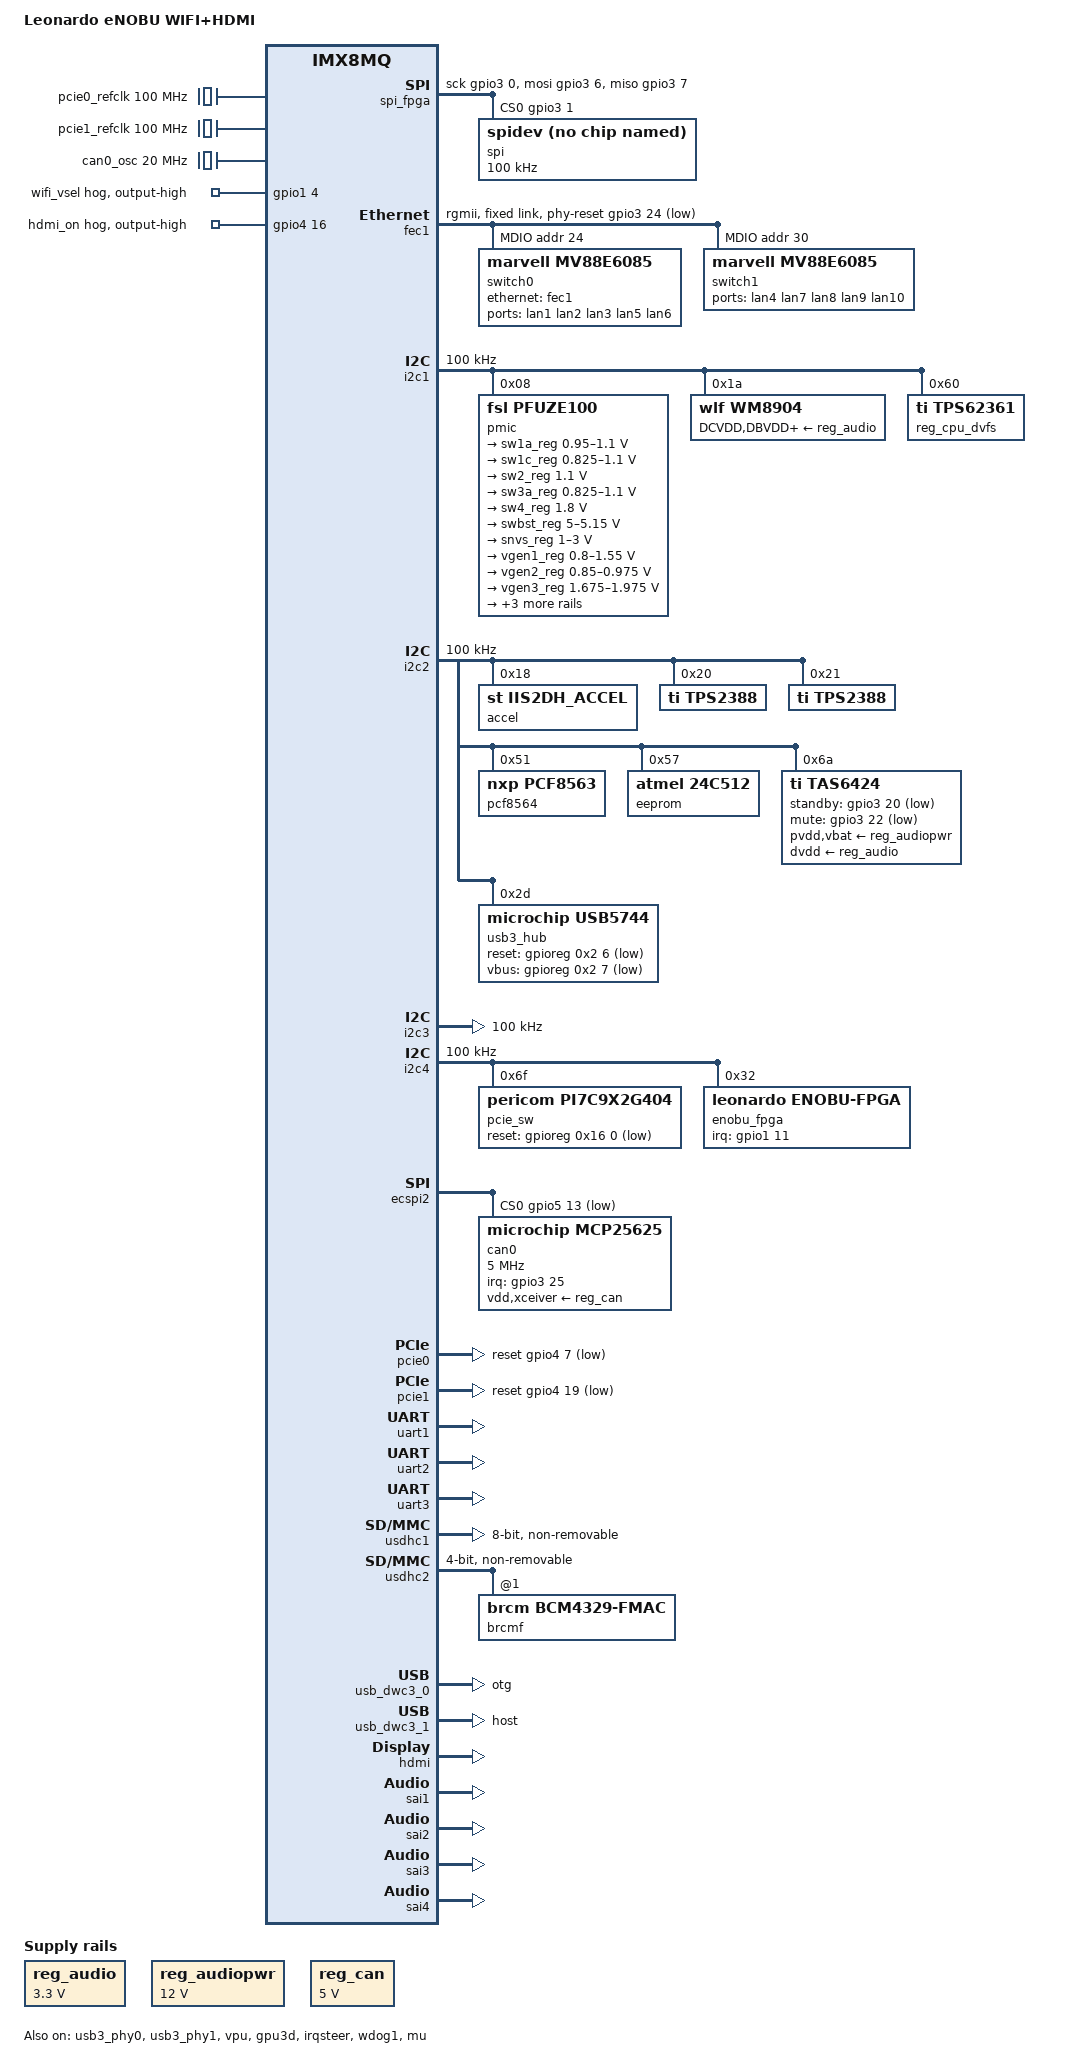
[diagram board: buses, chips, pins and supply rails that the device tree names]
// SPDX-License-Identifier: (GPL-2.0 OR MIT)
/*
 * Copyright 2017 NXP
 * Copyright 2018-2020 Variscite Ltd.
 * Copyright 2019 Leonardo S.p.A.
 *
 * This program is free software; you can redistribute it and/or
 * modify it under the terms of the GNU General Public License
 * as published by the Free Software Foundation; either version 2
 * of the License, or (at your option) any later version.
 *
 * This program is distributed in the hope that it will be useful,
 * but WITHOUT ANY WARRANTY; without even the implied warranty of
 * MERCHANTABILITY or FITNESS FOR A PARTICULAR PURPOSE.  See the
 * GNU General Public License for more details.
 */

/dts-v1/;

#include <dt-bindings/usb/pd.h>
#include "imx8mq.dtsi"

/ {
	model = "Leonardo eNOBU WIFI+HDMI";
	compatible = "leonardo,imx8mq-enobu", "fsl,imx8mq";

        aliases {
		spi3 = &spi_fpga;
        };

	chosen {
		bootargs = "console=ttymxc0,115200 earlycon=ec_imx6q,0x30860000,115200";
		stdout-path = &uart1;
	};

	pcie0_refclk: pcie0-refclk {
		compatible = "fixed-clock";
		#clock-cells = <0>;
		clock-frequency = <100000000>;
	};

	pcie1_refclk: pcie1-refclk {
		compatible = "fixed-clock";
		#clock-cells = <0>;
		clock-frequency = <100000000>;
	};

	reg_audio: audio_vdd {
		compatible = "regulator-fixed";
		regulator-name = "wm8904_supply";
		regulator-min-microvolt = <3300000>;
		regulator-max-microvolt = <3300000>;
		regulator-always-on;
	};

	reg_audiopwr: audiopwr_12v {
		compatible = "regulator-fixed";
		regulator-name = "audiopwr_supply";
		regulator-min-microvolt = <12000000>;
		regulator-max-microvolt = <12000000>;
		regulator-always-on;
	};

/*	reg_wifi_en: wifi_en {
		compatible = "regulator-fixed";
		regulator-name = "WIFI_REG_ON";
		regulator-min-microvolt = <3300000>;
		regulator-max-microvolt = <3300000>;
	}; */

	reg_can: 5v_iso {
		compatible = "regulator-fixed";
		regulator-name = "mcp25625_supply";
		regulator-min-microvolt = <5000000>;
		regulator-max-microvolt = <5000000>;
		regulator-always-on;
	};

/*	reg_usb_otg1_vbus: vbus_otg {
		compatible = "regulator-fixed";
		regulator-name = "usb_otg1_vbus";
		regulator-min-microvolt = <5000000>;
		regulator-max-microvolt = <5000000>;
		gpio = <&gpio1 12 GPIO_ACTIVE_HIGH>;
	        enable-active-high;
		regulator-always-on;
	}; */

	/* CFPX-180 quartz crystal */
	can0_osc: can0_osc {
		compatible = "fixed-clock";
		#clock-cells = <0>;
		clock-frequency = <20000000>;
	};

	sound-tas6424 {
		compatible = "fsl,imx-audio-tas6424";
		model = "imx-tas6424";
		audio-cpu = <&sai1>;
		audio-codec = <&tas6424>;
		audio-routing =
			"Line Out Jack", "OUT",
			"Playback", "CPU-Playback";
		status = "okay";
	};

        modem_codec: enobu-fpga-auxaudio@0 {
                compatible = "leonardo,enobu-fpga-auxaudio";
                #sound-dai-cells = <0>;
        };

        sound-auxfpga {
                compatible = "simple-audio-card";
                simple-audio-card,name = "fpga-audio";
                simple-audio-card,format = "dsp_a";
                simple-audio-card,bitclock-master = <&cpu_dai>;
                simple-audio-card,frame-master = <&cpu_dai>;
                simple-audio-card,bitclock-inversion;
		status = "okay";
                
                cpu_dai: simple-audio-card,cpu {
                    sound-dai = <&sai2>;
                };
                
                codec_dai: simple-audio-card,codec {
                    sound-dai = <&modem_codec>;
                };
        };

	sound-wm8904 {
		compatible = "fsl,imx-audio-wm8904";
		model = "imx-wm8904";
		audio-cpu = <&sai3>;
		audio-codec = <&wm8904>;
		audio-routing =
			"Headphone Jack", "HPOUTL",
			"Headphone Jack", "HPOUTR",
			"IN2L", "Line In Jack",
			"IN2R", "Line In Jack",
			"Playback", "CPU-Playback",
			"CPU-Capture", "Capture";
		status = "okay";
	};

	sound-hdmi {
		compatible = "fsl,imx8mq-evk-cdnhdmi",
				"fsl,imx-audio-cdnhdmi";
		model = "imx-audio-hdmi";
		audio-cpu = <&sai4>;
		protocol = <1>;
		hdmi-out;
		constraint-rate = <44100>,
				<88200>,
				<176400>,
				<32000>,
				<48000>,
				<96000>,
				<192000>;
		status = "disabled";
	};

	sound-hdmi-arc {
		compatible = "fsl,imx-audio-spdif";
		model = "imx-hdmi-arc";
		spdif-controller = <&spdif2>;
		spdif-in;
		status = "disabled";
	};

	spi_fpga: spi-fpga {
		pinctrl-names = "default";
		pinctrl-0 = <&pinctrl_spifpga>;
		compatible = "spi-gpio";
		#address-cells = <1>;
                #size-cells = <0>;

		gpio-sck = <&gpio3 0 GPIO_ACTIVE_HIGH>;
		gpio-miso = <&gpio3 7 GPIO_ACTIVE_HIGH>;
		gpio-mosi = <&gpio3 6 GPIO_ACTIVE_HIGH>;
		cs-gpios = <&gpio3 1 GPIO_ACTIVE_HIGH>;
		num-chipselects = <1>;
		status = "okay";
		
               /* FPGA Lattice MachXO3LF 
               fpga_mgr: fpga-mgr@0 {
			compatible = "lattice,machxo2-slave-spi";
			reg = <0>;
			spi-max-frequency = <100000>;
                        status = "okay";
		}; */
                
                /* debug SPI toward FPGA */
                spi@0 {
			compatible = "var,spidev";
			reg = <0>;
			spi-max-frequency = <100000>;
		};
        };

/*        fpga-region0 {
        	compatible = "fpga-region";
        	fpga-mgr = <&fpga_mgr>;
        }; */
};

&A53_0 {
	cpu-supply = <&reg_cpu_dvfs>;
};

&A53_1 {
	cpu-supply = <&reg_cpu_dvfs>;
};

&A53_2 {
	cpu-supply = <&reg_cpu_dvfs>;
};

&A53_3 {
	cpu-supply = <&reg_cpu_dvfs>;
};

/* KERNEL CRASH!!!!
&clk {
	assigned-clocks = <&clk IMX8MQ_AUDIO_PLL1>;
	assigned-clock-rates = <786432000>;
};
*/
&iomuxc {
	pinctrl-names = "default";

	pinctrl_fec1: fec1grp {
		fsl,pins = <
			MX8MQ_IOMUXC_ENET_MDC_ENET1_MDC			0x3
			MX8MQ_IOMUXC_ENET_MDIO_ENET1_MDIO		0x23
			MX8MQ_IOMUXC_ENET_TD3_ENET1_RGMII_TD3		0x1f
			MX8MQ_IOMUXC_ENET_TD2_ENET1_RGMII_TD2		0x1f
			MX8MQ_IOMUXC_ENET_TD1_ENET1_RGMII_TD1		0x1f
			MX8MQ_IOMUXC_ENET_TD0_ENET1_RGMII_TD0		0x1f
			MX8MQ_IOMUXC_ENET_RD3_ENET1_RGMII_RD3		0x91
			MX8MQ_IOMUXC_ENET_RD2_ENET1_RGMII_RD2		0x91
			MX8MQ_IOMUXC_ENET_RD1_ENET1_RGMII_RD1		0x91
			MX8MQ_IOMUXC_ENET_RD0_ENET1_RGMII_RD0		0x91
			MX8MQ_IOMUXC_ENET_TXC_ENET1_RGMII_TXC		0x1f
			MX8MQ_IOMUXC_ENET_RXC_ENET1_RGMII_RXC		0x91
			MX8MQ_IOMUXC_ENET_RX_CTL_ENET1_RGMII_RX_CTL	0x91
			MX8MQ_IOMUXC_ENET_TX_CTL_ENET1_RGMII_TX_CTL	0x1f
			MX8MQ_IOMUXC_SAI5_RXD3_GPIO3_IO24		0x47
                        MX8MQ_IOMUXC_GPIO1_IO03_GPIO1_IO3               0xc1
                        MX8MQ_IOMUXC_GPIO1_IO05_GPIO1_IO5               0xc1
		>;
	};

        /* internal to SOM */
	pinctrl_i2c1: i2c1grp {
		fsl,pins = <
			MX8MQ_IOMUXC_I2C1_SCL_I2C1_SCL			0x4000007f
			MX8MQ_IOMUXC_I2C1_SDA_I2C1_SDA			0x4000007f
		>;
	};

        /* all others devices */
	pinctrl_i2c2: i2c2grp {
		fsl,pins = <
			MX8MQ_IOMUXC_I2C2_SCL_I2C2_SCL			0x40000067
			MX8MQ_IOMUXC_I2C2_SDA_I2C2_SDA			0x40000067
		>;
	};

        /* NOT used actually */
	pinctrl_i2c3: i2c3grp {
		fsl,pins = <
			MX8MQ_IOMUXC_I2C3_SCL_I2C3_SCL			0x4000007f
			MX8MQ_IOMUXC_I2C3_SDA_I2C3_SDA			0x4000007f
		>;
	};

        /* FPGA dedicated I2C */
	pinctrl_i2c4: i2c4grp {
		fsl,pins = <
			MX8MQ_IOMUXC_I2C4_SCL_I2C4_SCL			0x4000007f
			MX8MQ_IOMUXC_I2C4_SDA_I2C4_SDA			0x4000007f
		>;
	};

	/* to CAN controller */
	pinctrl_ecspi2: ecspi2grp {
		fsl,pins = <
			MX8MQ_IOMUXC_ECSPI2_MISO_ECSPI2_MISO 		0x13
			MX8MQ_IOMUXC_ECSPI2_MOSI_ECSPI2_MOSI 		0x13
			MX8MQ_IOMUXC_ECSPI2_SCLK_ECSPI2_SCLK 		0x13
			MX8MQ_IOMUXC_ECSPI2_SS0_GPIO5_IO13		0x13    /* CS           */
			MX8MQ_IOMUXC_SD2_CD_B_GPIO2_IO12		0x13    /* ESPI2_STBY_CAN (not needed, STDY signal may be put to gnd */
			MX8MQ_IOMUXC_SAI5_MCLK_GPIO3_IO25		0x13    /* SPI_INT        */
		>;
	};

        pinctrl_hdmi: hdmigrp {
		fsl,pins = <
			MX8MQ_IOMUXC_SAI1_TXD4_GPIO4_IO16		0xc1    /* HDMI_I2C_EN */
		>;
        };

        pinctrl_audiopw: audiopwgrp {
                fsl,pins = <
                        MX8MQ_IOMUXC_SAI5_RXD0_GPIO3_IO21               0x56  /* AUDIOPOW_WARN  (?)  */
                        MX8MQ_IOMUXC_SAI5_RXD2_GPIO3_IO23               0x56  /* AUDIOPOW_FAULT (?)  */
                        MX8MQ_IOMUXC_SAI5_RXC_GPIO3_IO20                0x56  /* AUDIOPOW_MUTE  (?)  */
                        MX8MQ_IOMUXC_SAI5_RXD1_GPIO3_IO22               0x56  /* AUDIOPOW_STBY  (?)  */
                >;
        };

        pinctrl_fpga: fpgagrp {
                fsl,pins = <
                        MX8MQ_IOMUXC_GPIO1_IO01_GPIO1_IO1               0xc7  /* FPGA_PROGRAMN       */
                        MX8MQ_IOMUXC_SD2_RESET_B_GPIO2_IO19             0xc7  /* FPGA_INITN (???)    */
                        MX8MQ_IOMUXC_GPIO1_IO15_GPIO1_IO15              0xc1  /* FPGA_DONE           */
                        MX8MQ_IOMUXC_GPIO1_IO11_GPIO1_IO11              0xc1  /* FPGA_IRQ (oppure)   */
                >;
        };

        pinctrl_spifpga: spifpgagrp {
                fsl,pins = <
                        MX8MQ_IOMUXC_NAND_DATA01_GPIO3_IO7              0x4f  /* FPGA_SPI_O (?) */
                        MX8MQ_IOMUXC_NAND_DATA00_GPIO3_IO6              0x4f  /* FPGA_SPI_I (?) */
                        MX8MQ_IOMUXC_NAND_CE0_B_GPIO3_IO1               0x4f  /* FPGA_SPI_CS (?) */
                        MX8MQ_IOMUXC_NAND_ALE_GPIO3_IO0                 0x4f  /* FPGA_SPI_CLK (?) */
                >;
        };

	pinctrl_uart1: uart1grp {
		fsl,pins = <
			MX8MQ_IOMUXC_UART1_RXD_UART1_DCE_RX		0x49
			MX8MQ_IOMUXC_UART1_TXD_UART1_DCE_TX		0x49
		>;
	};

	pinctrl_uart2: uart2grp {
		fsl,pins = <
			MX8MQ_IOMUXC_UART2_RXD_UART2_DCE_RX		0x49
			MX8MQ_IOMUXC_UART2_TXD_UART2_DCE_TX		0x49
                        MX8MQ_IOMUXC_UART4_RXD_UART2_DCE_CTS_B	        0x49  /* (?) */
                        MX8MQ_IOMUXC_UART4_TXD_UART2_DCE_RTS_B	        0x49  /* (?) */
		>;
	};

	pinctrl_uart3: uart3grp {
		fsl,pins = <
			MX8MQ_IOMUXC_UART3_RXD_UART3_DCE_RX		0x49
			MX8MQ_IOMUXC_UART3_TXD_UART3_DCE_TX		0x49
                        MX8MQ_IOMUXC_ECSPI1_MISO_UART3_DCE_CTS_B	0x49
                        MX8MQ_IOMUXC_ECSPI1_SS0_UART3_DCE_RTS_B		0x49
		>;
	};

	pinctrl_uart4: uart4grp {
		fsl,pins = <
			MX8MQ_IOMUXC_ECSPI2_SCLK_UART4_DCE_RX		0xc1
			MX8MQ_IOMUXC_ECSPI2_MOSI_UART4_DCE_TX		0xc1
			MX8MQ_IOMUXC_ECSPI2_MISO_UART4_DCE_CTS_B	0xc1
			MX8MQ_IOMUXC_ECSPI2_SS0_UART4_DCE_RTS_B		0xc1
		>;
	};

        /* eMMC */
	pinctrl_usdhc1: usdhc1grp {
		fsl,pins = <
			MX8MQ_IOMUXC_SD1_CLK_USDHC1_CLK			0x83
			MX8MQ_IOMUXC_SD1_CMD_USDHC1_CMD			0xc3
			MX8MQ_IOMUXC_SD1_DATA0_USDHC1_DATA0		0xc3
			MX8MQ_IOMUXC_SD1_DATA1_USDHC1_DATA1		0xc3
			MX8MQ_IOMUXC_SD1_DATA2_USDHC1_DATA2		0xc3
			MX8MQ_IOMUXC_SD1_DATA3_USDHC1_DATA3		0xc3
			MX8MQ_IOMUXC_SD1_DATA4_USDHC1_DATA4		0xc3
			MX8MQ_IOMUXC_SD1_DATA5_USDHC1_DATA5		0xc3
			MX8MQ_IOMUXC_SD1_DATA6_USDHC1_DATA6		0xc3
			MX8MQ_IOMUXC_SD1_DATA7_USDHC1_DATA7		0xc3
			MX8MQ_IOMUXC_SD1_STROBE_USDHC1_STROBE		0x83
			MX8MQ_IOMUXC_SD1_RESET_B_USDHC1_RESET_B		0xc1
		>;
	};

	pinctrl_usdhc1_100mhz: usdhc1-100grp {
		fsl,pins = <
			MX8MQ_IOMUXC_SD1_CLK_USDHC1_CLK			0x8d
			MX8MQ_IOMUXC_SD1_CMD_USDHC1_CMD			0xcd
			MX8MQ_IOMUXC_SD1_DATA0_USDHC1_DATA0		0xcd
			MX8MQ_IOMUXC_SD1_DATA1_USDHC1_DATA1		0xcd
			MX8MQ_IOMUXC_SD1_DATA2_USDHC1_DATA2		0xcd
			MX8MQ_IOMUXC_SD1_DATA3_USDHC1_DATA3		0xcd
			MX8MQ_IOMUXC_SD1_DATA4_USDHC1_DATA4		0xcd
			MX8MQ_IOMUXC_SD1_DATA5_USDHC1_DATA5		0xcd
			MX8MQ_IOMUXC_SD1_DATA6_USDHC1_DATA6		0xcd
			MX8MQ_IOMUXC_SD1_DATA7_USDHC1_DATA7		0xcd
			MX8MQ_IOMUXC_SD1_STROBE_USDHC1_STROBE		0x8d
			MX8MQ_IOMUXC_SD1_RESET_B_USDHC1_RESET_B		0xc1
		>;
	};

	pinctrl_usdhc1_200mhz: usdhc1-200grp {
		fsl,pins = <
			MX8MQ_IOMUXC_SD1_CLK_USDHC1_CLK			0x9f
			MX8MQ_IOMUXC_SD1_CMD_USDHC1_CMD			0xdf
			MX8MQ_IOMUXC_SD1_DATA0_USDHC1_DATA0		0xdf
			MX8MQ_IOMUXC_SD1_DATA1_USDHC1_DATA1		0xdf
			MX8MQ_IOMUXC_SD1_DATA2_USDHC1_DATA2		0xdf
			MX8MQ_IOMUXC_SD1_DATA3_USDHC1_DATA3		0xdf
			MX8MQ_IOMUXC_SD1_DATA4_USDHC1_DATA4		0xdf
			MX8MQ_IOMUXC_SD1_DATA5_USDHC1_DATA5		0xdf
			MX8MQ_IOMUXC_SD1_DATA6_USDHC1_DATA6		0xdf
			MX8MQ_IOMUXC_SD1_DATA7_USDHC1_DATA7		0xdf
			MX8MQ_IOMUXC_SD1_STROBE_USDHC1_STROBE		0x9f
			MX8MQ_IOMUXC_SD1_RESET_B_USDHC1_RESET_B		0xc1
		>;
	};

        /* Wifi SDIO on eNOBU - shared between WiFi/uSD  */
	pinctrl_usdhc2: usdhc2grp {
		fsl,pins = <
			MX8MQ_IOMUXC_SD2_CLK_USDHC2_CLK			0x83
			MX8MQ_IOMUXC_SD2_CMD_USDHC2_CMD			0xc3
			MX8MQ_IOMUXC_SD2_DATA0_USDHC2_DATA0		0xc3
			MX8MQ_IOMUXC_SD2_DATA1_USDHC2_DATA1		0xc3
			MX8MQ_IOMUXC_SD2_DATA2_USDHC2_DATA2		0xc3
			MX8MQ_IOMUXC_SD2_DATA3_USDHC2_DATA3		0xc3
		>;
	};

	pinctrl_usdhc2_100mhz: usdhc2-100grp {
		fsl,pins = <
			MX8MQ_IOMUXC_SD2_CLK_USDHC2_CLK			0x85
			MX8MQ_IOMUXC_SD2_CMD_USDHC2_CMD			0xc5
			MX8MQ_IOMUXC_SD2_DATA0_USDHC2_DATA0		0xc5
			MX8MQ_IOMUXC_SD2_DATA1_USDHC2_DATA1		0xc5
			MX8MQ_IOMUXC_SD2_DATA2_USDHC2_DATA2		0xc5
			MX8MQ_IOMUXC_SD2_DATA3_USDHC2_DATA3		0xc5
		>;
	};

	pinctrl_usdhc2_200mhz: usdhc2-200grp {
		fsl,pins = <
			MX8MQ_IOMUXC_SD2_CLK_USDHC2_CLK			0x87
			MX8MQ_IOMUXC_SD2_CMD_USDHC2_CMD			0xc7
			MX8MQ_IOMUXC_SD2_DATA0_USDHC2_DATA0		0xc7
			MX8MQ_IOMUXC_SD2_DATA1_USDHC2_DATA1		0xc7
			MX8MQ_IOMUXC_SD2_DATA2_USDHC2_DATA2		0xc7
			MX8MQ_IOMUXC_SD2_DATA3_USDHC2_DATA3		0xc7
		>;
	};

        /* TAS6424 power codec */
        pinctrl_sai1: sai1grp {
                fsl,pins = <
                        MX8MQ_IOMUXC_SAI1_MCLK_SAI1_MCLK                0xd6
                        MX8MQ_IOMUXC_SAI1_TXC_SAI1_TX_BCLK              0xd6
                        MX8MQ_IOMUXC_SAI1_TXD0_SAI1_TX_DATA0            0xd6
                        MX8MQ_IOMUXC_SAI1_TXD1_SAI1_TX_DATA1            0xd6
                        MX8MQ_IOMUXC_SAI1_TXFS_SAI1_TX_SYNC             0xd6
                >;
        };

        /* LCMXO FPGA aux audio channel */
        pinctrl_sai2: sai2grp {
                fsl,pins = <
                        MX8MQ_IOMUXC_SAI2_MCLK_SAI2_MCLK                0xd6
                        MX8MQ_IOMUXC_SAI2_RXC_SAI2_RX_BCLK              0xd6
                        MX8MQ_IOMUXC_SAI2_RXD0_SAI2_RX_DATA0            0xd6
                        MX8MQ_IOMUXC_SAI2_RXFS_SAI2_RX_SYNC             0xd6
                        MX8MQ_IOMUXC_SAI2_TXC_SAI2_TX_BCLK              0xd6
                        MX8MQ_IOMUXC_SAI2_TXD0_SAI2_TX_DATA0            0xd6
                        MX8MQ_IOMUXC_SAI2_TXFS_SAI2_TX_SYNC             0xd6
                >;
        };

        /* WM8904 audio serial (on SOM) */
	pinctrl_sai3: sai3grp {
		fsl,pins = <
			MX8MQ_IOMUXC_SAI3_RXFS_SAI3_RX_SYNC		0xd6
			MX8MQ_IOMUXC_SAI3_RXC_SAI3_RX_BCLK		0xd6
			MX8MQ_IOMUXC_SAI3_RXD_SAI3_RX_DATA0		0xd6
			MX8MQ_IOMUXC_SAI3_TXFS_SAI3_TX_SYNC		0xd6
			MX8MQ_IOMUXC_SAI3_TXC_SAI3_TX_BCLK		0xd6
			MX8MQ_IOMUXC_SAI3_TXD_SAI3_TX_DATA0		0xd6
			MX8MQ_IOMUXC_SAI3_MCLK_SAI3_MCLK		0xd6
		>;
	};

	pinctrl_wdog: wdog1grp {
		fsl,pins = <
			MX8MQ_IOMUXC_GPIO1_IO02_WDOG1_WDOG_B		0xc6
		>;
	};

	pinctrl_wifi: wifigrp {
		fsl,pins = <
			MX8MQ_IOMUXC_GPIO1_IO04_GPIO1_IO4		0xc1	/* WIFI_PWR_VSEL */
			MX8MQ_IOMUXC_GPIO1_IO08_GPIO1_IO8		0xc1	/* WIFI_PWR_ON   */
			MX8MQ_IOMUXC_NAND_CE1_B_GPIO3_IO2		0xc1	/* WIFI_REG_ON   */
			MX8MQ_IOMUXC_GPIO1_IO00_ANAMIX_REF_CLK_32K	0xc1	/* WIFI_CLK_32K  */
		>;
	};

	pinctrl_bt: btgrp {
		fsl,pins = <
			MX8MQ_IOMUXC_NAND_CE3_B_GPIO3_IO4		0xc1	/* BT_REG_ON     */
			MX8MQ_IOMUXC_SPDIF_EXT_CLK_GPIO5_IO5		0xc1	/* BT_BUF_EN     */
		>;
	};

	pinctrl_pcie0: pcie0grp {
		fsl,pins = <
			MX8MQ_IOMUXC_SAI1_RXD5_GPIO4_IO7		0x16
		>;
	};

	pinctrl_pcie1: pcie1grp {
		fsl,pins = <
			MX8MQ_IOMUXC_SAI1_TXD7_GPIO4_IO19		0x16
		>;
	};

};

/* Set WIFI SDIO voltage at 1.8V */
&gpio1 {
	wifi_vsel_hog {
		gpio-hog;
		gpios = <4 0>;
		output-high;
		line-name = "wifi_vsel";
	};
};

&gpio4 {
	pinctrl-names = "default";
	pinctrl-0 = <&pinctrl_hdmi>;

	hdmi_on_hog {
		gpio-hog;
		gpios = <16 0>;
		output-high;
		line-name = "hdmi_on";
	};
};

/* Marvell switch linux-managed */
&fec1 {
	pinctrl-names = "default";
	pinctrl-0 = <&pinctrl_fec1>;
	phy-mode = "rgmii";
//        phy-handle = <&switch0uplink>;
	phy-reset-gpios = <&gpio3 24 GPIO_ACTIVE_LOW>;
	phy-reset-duration = <30>;
        status = "okay";

        fixed-link {
                speed = <1000>;
                full-duplex;
        };

	mdio {
		#address-cells = <1>;
		#size-cells = <0>;
                // interrupt-controller;
                // #interrupt-cells = <2>;

                switch0: switch0@0 {
        		compatible = "marvell,mv88e6085";
        		// #address-cells = <1>;
        		// #size-cells = <0>;

        		reg = <0x18>;
        		dsa,member = <0 0>;

			// interrupt-parent = <&gpio1>;
			// interrupts = <3 IRQ_TYPE_EDGE_FALLING>;
 
        		ports {
        			#address-cells = <1>;
        			#size-cells = <0>;
			        
                                switch0uplink: port@6 {
                                        reg = <6>;
	                                phy-mode = "rgmii";
                                        // label = "cpu";

                                        ethernet = <&fec1>;
                                        fixed-link {
                                                speed = <1000>;
                                                full-duplex;
                                        };
                                };
  
                                port@4 {
                                        reg = <4>;
                                        label = "lan1";
                                };
  
                                port@2 {
                                        reg = <2>;
                                        label = "lan2";
                                };
  
                                port@3 {
                                        reg = <3>;
                                        label = "lan3";
                                };
  
                                port@0 {
			        	reg = <0>;
			        	label = "lan5";
        		        };

                                port@1 {
                                        reg = <1>;
                                        label = "lan6";
                                };

                                switch0downlink: port@5 {
                                        reg = <5>;
                                        phy-mode = "1000base-x";

                                        // label = "dsa";

                                        link = <&switch1uplink>;

				        fixed-link {
					        speed = <1000>;
					        full-duplex;
				        };
                                };
	                };
                };

                switch1: switch1@0 {
        		compatible = "marvell,mv88e6085";
        		// #address-cells = <1>;
        		// #size-cells = <0>;

        		reg = <0x1e>;
        		dsa,member = <0 1>;

			// interrupt-parent = <&gpio1>;
			// interrupts = <5 IRQ_TYPE_EDGE_FALLING>;

			/* Disabilitato per scheda di laboratorio che ha il secondo switch rotto
			status = "disabled"; */
 
        		ports {
        			#address-cells = <1>;
        			#size-cells = <0>;
			        
                                port@0 {
			        	reg = <0>;
			        	label = "lan4";
        		        };

                                port@1 {
                                        reg = <1>;
                                        label = "lan7";
                                };
  
                                port@2 {
                                        reg = <2>;
                                        label = "lan8";
                                };
  
                                port@3 {
                                        reg = <3>;
                                        label = "lan9";
                                };
  
                                port@4 {
                                        reg = <4>;
                                        label = "lan10";
                                };
  
                                switch1uplink: port@5 {
                                        reg = <5>;
                                        phy-mode = "1000base-x";

                                        // label = "dsa";

                                        link = <&switch0downlink>;

                                        fixed-link {
					        speed = <1000>;
					        full-duplex;
                                        };
				};
	                };
                };
        };
};

&i2c1 {
	clock-frequency = <100000>;
	pinctrl-names = "default";
	pinctrl-0 = <&pinctrl_i2c1>;
	status = "okay";

	pmic@8 {
		compatible = "fsl,pfuze100";
		fsl,pfuze-support-disable-sw;
		reg = <0x8>;

		regulators {
			sw1a_reg: sw1ab {
				regulator-min-microvolt = <950000>;
				regulator-max-microvolt = <1100000>;
			};

			sw1c_reg: sw1c {
				regulator-min-microvolt = <825000>;
				regulator-max-microvolt = <1100000>;
			};

			sw2_reg: sw2 {
				regulator-min-microvolt = <1100000>;
				regulator-max-microvolt = <1100000>;
				regulator-always-on;
			};

			sw3a_reg: sw3ab {
				regulator-min-microvolt = <825000>;
				regulator-max-microvolt = <1100000>;
				regulator-always-on;
			};

			sw4_reg: sw4 {
				regulator-min-microvolt = <1800000>;
				regulator-max-microvolt = <1800000>;
				regulator-always-on;
			};

			swbst_reg: swbst {
				regulator-min-microvolt = <5000000>;
				regulator-max-microvolt = <5150000>;
			};

			snvs_reg: vsnvs {
				regulator-min-microvolt = <1000000>;
				regulator-max-microvolt = <3000000>;
				regulator-always-on;
			};

			vref_reg: vrefddr {
				regulator-always-on;
			};

			vgen1_reg: vgen1 {
				regulator-min-microvolt = <800000>;
				regulator-max-microvolt = <1550000>;
			};

			vgen2_reg: vgen2 {
				regulator-min-microvolt = <850000>;
				regulator-max-microvolt = <975000>;
				regulator-always-on;
			};

			vgen3_reg: vgen3 {
				regulator-min-microvolt = <1675000>;
				regulator-max-microvolt = <1975000>;
				regulator-always-on;
			};

			vgen4_reg: vgen4 {
				regulator-min-microvolt = <1625000>;
				regulator-max-microvolt = <1875000>;
				regulator-always-on;
			};

			vgen5_reg: vgen5 {
				regulator-min-microvolt = <3075000>;
				regulator-max-microvolt = <3625000>;
				regulator-always-on;
			};

			vgen6_reg: vgen6 {
				regulator-min-microvolt = <1800000>;
				regulator-max-microvolt = <3300000>;
			};
		};
	};

	wm8904: codec@1a {
		compatible = "wlf,wm8904";
		reg = <0x1a>;
		clocks = <&clk IMX8MQ_CLK_SAI3_ROOT>;
		clock-names = "mclk";
		DCVDD-supply = <&reg_audio>;
		DBVDD-supply = <&reg_audio>;
		AVDD-supply = <&reg_audio>;
		CPVDD-supply = <&reg_audio>;
		MICVDD-supply = <&reg_audio>;
		gpio-cfg = <
			0x0018 /* GPIO1 => DMIC_CLK */
			0xffff /* GPIO2 => don't touch */
			0xffff /* GPIO3 => don't touch */
			0xffff /* GPIO4 => don't touch */
		>;
		status = "okay";
	};

	reg_cpu_dvfs: tps62361@60 {
		reg = <0x60>;
		compatible = "ti,tps62361";
		regulator-min-microvolt = <900000>;
		regulator-max-microvolt = <1000000>;
		regulator-name = "arm-supply";
		regulator-boot-on;
		regulator-always-on;
		ti,enable-force-pwm;
	};
};

&i2c2 {
	clock-frequency = <100000>;
	pinctrl-names = "default";
	pinctrl-0 = <&pinctrl_i2c2>;
	status = "okay";

	/* IIS2DH accelerometro */
	accel: iis2dh@18 {
	compatible = "st,iis2dh_accel";
	reg = <0x18>;

	/* TODO
	 * per ora gli irq passano da FPGA,
	 * valutare se farseli arrivare direttamente al
	 * micro.
	 *
	 * interrupt-parent = <&gpio1>;
	 * interrupts = <26 IRQ_TYPE_LEVEL_HIGH>,
	 *              <27 IRQ_TYPE_LEVEL_HIGH>;
	 */
	};

	/* TPS2388 poe PSE controller (8 ports) */
	tps2388@20 {
		compatible = "ti,tps2388";
		reg = <0x20>;
		ieee_enable = <1>;

		/* Each port <0..3> has:
			op_mode: off, manual, auto
			det_class_en: 0, 1
		 */
		port@0 {
			id = <0>;
			op_mode = "auto";
			led_pos = <5>;
			det_class_en = <1>;
		};
		port@1 {
			id = <1>;
			op_mode = "auto";
			led_pos = <2>;
			det_class_en = <1>;
		};
		port@2 {
			id = <2>;
			op_mode = "auto";
			led_pos = <3>;
			det_class_en = <1>;
		};
		port@3 {
			id = <3>;
			op_mode = "auto";
			led_pos = <1>;
			det_class_en = <1>;
		};
	};

	tps2388@21 {
		compatible = "ti,tps2388";
		reg = <0x21>;
		ieee_enable = <1>;
		//status = "disabled";

		port@0 {
			id = <0>;
			op_mode = "auto";
			led_pos = <4>;
			det_class_en = <1>;
		};
		port@1 {
			id = <1>;
			op_mode = "auto";
			led_pos = <6>;
			det_class_en = <1>;
		};
		port@2 {
			id = <2>;
			op_mode = "auto";
			led_pos = <7>;
			det_class_en = <1>;
		};
		port@3 {
			id = <3>;
			op_mode = "auto";
			led_pos = <8>;
			det_class_en = <1>;
		};
	};

        /* RTC8564 real time clock */
	pcf8564@51 {
		compatible = "nxp,pcf8563";
		reg = <0x51>;
	};

        /* M24512 eeprom */
	eeprom@57 {
		compatible = "atmel,24c512";
		reg = <0x57>;
	};

        /* TAS6424 power codec */
	tas6424: tas6424@6a {
		compatible = "ti,tas6424";
		reg = <0x6a>;

		clocks = <&clk IMX8MQ_CLK_SAI1_ROOT>;
		clock-names = "mclk";

		pinctrl-names = "default";
		pinctrl-0 = <&pinctrl_audiopw>;

		pvdd-supply = <&reg_audiopwr>;
		vbat-supply = <&reg_audiopwr>;
		dvdd-supply = <&reg_audio>;

		#sound-dai-cells = <0>;

		/* TODO
		 * prendere dalla versione successiva di kernel gli agganci
		 * per definire e gestire i seguenti GPIO.
		 *
		 * standby-gpios = <&gpio3 22 GPIO_ACTIVE_HIGH>;
		 * mute-gpios = <&gpio3 20 GPIO_ACTIVE_HIGH>;
		 */

		standby-gpios = <&gpio3 20 GPIO_ACTIVE_LOW>;   /* sono invertiti sulla schematica */
		mute-gpios = <&gpio3 22 GPIO_ACTIVE_LOW>;      /* sono invertiti sulla schematica */

		interrupts = <&gpio3 21 IRQ_TYPE_EDGE_FALLING>,
					 <&gpio3 23 IRQ_TYPE_EDGE_FALLING>;
	};

        /* USB5744T  usb hub */
        usb3_hub: usb5744@2d {
		compatible = "microchip,usb5744";
		reg = <0x2d>;

		reset-gpio = <&gpioreg 0x2 6 GPIO_ACTIVE_LOW>;
		vbus-gpio = <&gpioreg 0x2 7 GPIO_ACTIVE_LOW>;
	};

	/* DS1337 RTC module
	rtc@68 {
		status = "okay";
		compatible = "dallas,ds1337";
		reg = <0x68>;
		pinctrl-names = "default";
		pinctrl-0 = <&pinctrl_rtc>;
		interrupt-parent = <&gpio1>;
		interrupts = <15 IRQ_TYPE_EDGE_FALLING>;
		wakeup-source;
	}; */
};

&i2c3 {
	clock-frequency = <100000>;
	pinctrl-names = "default";
	pinctrl-0 = <&pinctrl_i2c3>;
	status = "okay";
};

&i2c4 {
	clock-frequency = <100000>;
	pinctrl-names = "default";
	pinctrl-0 = <&pinctrl_i2c4>;
	status = "okay";
        
        /* PI7C9X2G404 pcie hub */
        pcie_sw: pi7c9x2g404@6f {
		compatible = "pericom,pi7c9x2g404";
		reg = <0x6f>;
                reset-gpio = <&gpioreg 0x16 0 GPIO_ACTIVE_LOW>;
        };

        /* LCMXO3 fpga */ 
        enobu_fpga: enobu-fpga@32 {
   	        pinctrl-names = "default";
   	        pinctrl-0 = <&pinctrl_fpga>;
                compatible = "leonardo,enobu-fpga";
   	        reg = <0x32>;

   	        interrupt-parent = <&gpio1>;
   	        interrupts = <11 IRQ_TYPE_EDGE_FALLING>; 
   	     
                ledmatrix: ledmatrix@0 {
                        compatible = "leonardo,enobu-fpga-ledmatrix";
                };
                
                leds: leds@0 {
                        compatible = "leonardo,enobu-fpga-leds";
                };
                
                gpioreg: gpioreg@0 {
                        compatible = "leonardo,enobu-fpga-gpioreg";
                        gpio-controller;
                        #gpio-cells = <3>;
                };
        };

};

&ecspi2 {
	pinctrl-names = "default";
	pinctrl-0 = <&pinctrl_ecspi2>;
	cs-gpios = <&gpio5 13 GPIO_ACTIVE_LOW>;
	fsl,spi-num-chipselects = <1>;
	status = "okay";

	/* MPC25625 external CAN controller */
	can0: can@0 {
		compatible = "microchip,mcp25625";
		reg = <0>;
		clocks = <&can0_osc>;
		interrupt-parent = <&gpio3>;
		interrupts = <25 0x2>;
		spi-max-frequency = <5000000>;
		vdd-supply = <&reg_can>;
		xceiver-supply = <&reg_can>;
		status = "okay";
	};
};

&pcie0 {
	pinctrl-names = "default";
	pinctrl-0 = <&pinctrl_pcie0>;
	reset-gpio = <&gpio4 7 GPIO_ACTIVE_LOW>;
	clocks = <&clk IMX8MQ_CLK_PCIE1_ROOT>,
		 <&clk IMX8MQ_CLK_PCIE1_AUX>,
		 <&clk IMX8MQ_CLK_PCIE1_PHY>,
		 <&pcie0_refclk>;
	clock-names = "pcie", "pcie_aux", "pcie_phy", "pcie_bus";
	hard-wired = <1>;
	status = "okay";
};

&pcie1 {
	pinctrl-names = "default";
	pinctrl-0 = <&pinctrl_pcie1>;
	reset-gpio = <&gpio4 19 GPIO_ACTIVE_LOW>;
	clocks = <&clk IMX8MQ_CLK_PCIE2_ROOT>,
		 <&clk IMX8MQ_CLK_PCIE2_AUX>,
		 <&clk IMX8MQ_CLK_PCIE2_PHY>,
		 <&pcie1_refclk>;
	clock-names = "pcie", "pcie_aux", "pcie_phy", "pcie_bus";
	status = "okay";
};

/* Console */
&uart1 {
	pinctrl-names = "default";
	pinctrl-0 = <&pinctrl_uart1>;
	assigned-clocks = <&clk IMX8MQ_CLK_UART1>;
	assigned-clock-parents = <&clk IMX8MQ_CLK_25M>;
	status = "okay";
};

/* Header */
&uart2 {
	pinctrl-names = "default";
	pinctrl-0 = <&pinctrl_uart2>;
	assigned-clocks = <&clk IMX8MQ_CLK_UART2>;
	assigned-clock-parents = <&clk IMX8MQ_CLK_25M>;
	status = "okay";
};

/* Header */
&uart3 {
	pinctrl-names = "default";
	pinctrl-0 = <&pinctrl_uart3>;
	assigned-clocks = <&clk IMX8MQ_CLK_UART3>;
	assigned-clock-parents = <&clk IMX8MQ_CLK_25M>;
	status = "okay";
};

/* Bluetooth */
&uart4 {
	pinctrl-names = "default";
	pinctrl-0 = <&pinctrl_uart4>, <&pinctrl_bt>;
	assigned-clocks = <&clk IMX8MQ_CLK_UART4>;
	assigned-clock-parents = <&clk IMX8MQ_SYS1_PLL_80M>;
	fsl,uart-has-rtscts;
	status = "disabled";
};

/* eMMC */
&usdhc1 {
	pinctrl-names = "default", "state_100mhz", "state_200mhz";
	pinctrl-0 = <&pinctrl_usdhc1>;
	pinctrl-1 = <&pinctrl_usdhc1_100mhz>;
	pinctrl-2 = <&pinctrl_usdhc1_200mhz>;
	vqmmc-supply = <&sw4_reg>;
	bus-width = <8>;
	non-removable;
	no-sd;
	no-sdio;
	status = "okay";
};

/* WIFI */
&usdhc2 {
	#address-cells = <1>;
	#size-cells = <0>;
	pinctrl-names = "default", "state_100mhz", "state_200mhz";
	pinctrl-0 = <&pinctrl_usdhc2>, <&pinctrl_wifi>;
	pinctrl-1 = <&pinctrl_usdhc2_100mhz>, <&pinctrl_wifi>;
	pinctrl-2 = <&pinctrl_usdhc2_200mhz>, <&pinctrl_wifi>;
	bus-width = <4>;
	non-removable;
	keep-power-in-suspend;
	status = "okay";

	brcmf: bcrmf@1 {
		reg = <1>;
		compatible = "brcm,bcm4329-fmac";
	};
};

&usb3_phy0 {
	status = "okay";
};

&usb_dwc3_0 {
	dr_mode = "otg";
	hnp-disable;
	srp-disable;
	adp-disable;
	snps,dis-u1-entry-quirk;
	snps,dis-u2-entry-quirk;
	status = "okay";
};

&usb3_phy1 {
	status = "okay";
};

&usb_dwc3_1 {
	dr_mode = "host";
	status = "okay";
};

&hdmi {
	compatible = "cdn,imx8mq-hdmi";
	lane-mapping = <0xe4>;
	status = "okay";
};

/* TAS6424 power codec */
&sai1 {
	pinctrl-names = "default";
	pinctrl-0 = <&pinctrl_sai1>;
	assigned-clocks = <&clk IMX8MQ_CLK_SAI1>;
	assigned-clock-parents = <&clk IMX8MQ_AUDIO_PLL1_OUT>;
	assigned-clock-rates = <24576000>;
	status = "okay";
};

/* LCMXO FPGA aux audio channel */
&sai2 {
	pinctrl-names = "default";
	pinctrl-0 = <&pinctrl_sai2>;
        #sound-dai-cells = <0>;
	assigned-clocks = <&clk IMX8MQ_CLK_SAI2>;
	assigned-clock-parents = <&clk IMX8MQ_AUDIO_PLL1_OUT>;
	assigned-clock-rates = <1536000>;
	status = "okay";
};

/* WM8904 audio */
&sai3 {
	pinctrl-names = "default";
	pinctrl-0 = <&pinctrl_sai3>;
	assigned-clocks = <&clk IMX8MQ_CLK_SAI3>;
	assigned-clock-parents = <&clk IMX8MQ_AUDIO_PLL1_OUT>;
	assigned-clock-rates = <1536000>;
	status = "okay";
};

/* HDMI audio out */
&sai4 {
	clocks = <&clk IMX8MQ_CLK_SAI4_IPG>, <&clk IMX8MQ_CLK_DUMMY>,
		<&clk IMX8MQ_CLK_SAI4_ROOT>, <&clk IMX8MQ_CLK_DUMMY>,
		<&clk IMX8MQ_CLK_DUMMY>, <&clk IMX8MQ_AUDIO_PLL1_OUT>,
		<&clk IMX8MQ_AUDIO_PLL2_OUT>;
	clock-names = "bus", "mclk0", "mclk1", "mclk2", "mclk3", "pll8k", "pll11k";
	status = "okay";
};

&pgc_gpu {
	power-supply = <&sw1a_reg>;
};

&pgc_vpu {
	power-supply = <&sw1c_reg>;
};

&vpu {
	status = "okay";
};

&gpu3d {
	status = "okay";
};

&irqsteer {
	status = "okay";
};

&wdog1 {
	pinctrl-names = "default";
	pinctrl-0 = <&pinctrl_wdog>;
	fsl,ext-reset-output;
	status = "okay";
};

&mu {
	status = "okay";
};

&snvs_rtc {
	status = "disabled";
};

